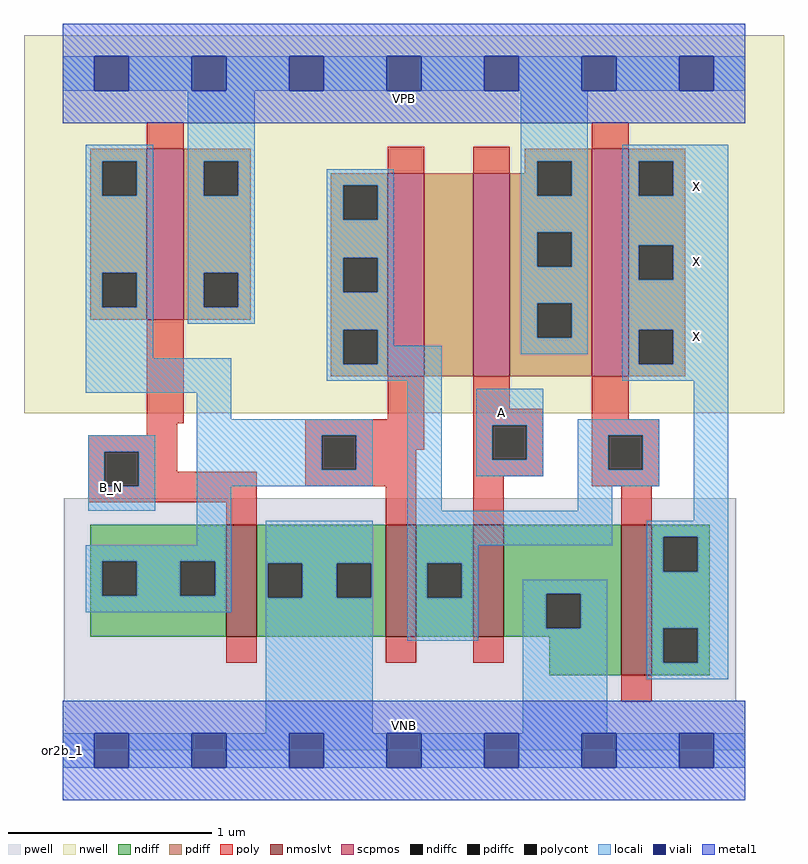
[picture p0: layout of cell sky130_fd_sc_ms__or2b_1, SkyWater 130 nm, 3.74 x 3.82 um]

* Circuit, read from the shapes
.subckt sky130_fd_sc_ms__or2b_1 A B_N VGND VNB VPB VPWR X
XM1 VGND B_N n1 VNB sky130_fd_pr__nfet_01v8_lvt w=0.55 l=0.15
XM2 n2 n1 VGND VNB sky130_fd_pr__nfet_01v8_lvt w=0.55 l=0.15
XM3 VGND A n2 VNB sky130_fd_pr__nfet_01v8_lvt w=0.55 l=0.15
XM4 X n2 VGND VNB sky130_fd_pr__nfet_01v8_lvt w=0.74 l=0.15
XM5 VPWR B_N n1 VPB sky130_fd_pr__pfet_01v8 w=0.84 l=0.18
XM6 n3 n1 n2 VPB sky130_fd_pr__pfet_01v8 w=1 l=0.18
XM7 VPWR A n3 VPB sky130_fd_pr__pfet_01v8 w=1 l=0.18
XM8 X n2 VPWR VPB sky130_fd_pr__pfet_01v8 w=1.12 l=0.18
.ends

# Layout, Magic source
magic
tech sky130A
magscale 1 2
<< nwell >>
rect -38 332 710 704
<< pwell >>
rect 1 49 663 248
rect 0 0 672 49
<< scpmos >>
rect 83 424 119 592
rect 320 368 356 568
rect 404 368 440 568
rect 521 368 557 592
<< nmoslvt >>
rect 161 112 191 222
rect 318 112 348 222
rect 404 112 434 222
rect 550 74 580 222
<< ndiff >>
rect 27 186 161 222
rect 27 152 39 186
rect 73 152 116 186
rect 150 152 161 186
rect 27 112 161 152
rect 191 184 318 222
rect 191 150 202 184
rect 236 150 270 184
rect 304 150 318 184
rect 191 112 318 150
rect 348 184 404 222
rect 348 150 359 184
rect 393 150 404 184
rect 348 112 404 150
rect 434 154 550 222
rect 434 120 476 154
rect 510 120 550 154
rect 434 112 550 120
rect 479 74 550 112
rect 580 210 637 222
rect 580 176 591 210
rect 625 176 637 210
rect 580 120 637 176
rect 580 86 591 120
rect 625 86 637 120
rect 580 74 637 86
<< pdiff >>
rect 27 580 83 592
rect 27 546 39 580
rect 73 546 83 580
rect 27 470 83 546
rect 27 436 39 470
rect 73 436 83 470
rect 27 424 83 436
rect 119 580 185 592
rect 119 546 139 580
rect 173 546 185 580
rect 455 580 521 592
rect 455 568 467 580
rect 119 470 185 546
rect 119 436 139 470
rect 173 436 185 470
rect 119 424 185 436
rect 264 556 320 568
rect 264 522 276 556
rect 310 522 320 556
rect 264 485 320 522
rect 264 451 276 485
rect 310 451 320 485
rect 264 414 320 451
rect 264 380 276 414
rect 310 380 320 414
rect 264 368 320 380
rect 356 368 404 568
rect 440 546 467 568
rect 501 546 521 580
rect 440 510 521 546
rect 440 476 467 510
rect 501 476 521 510
rect 440 440 521 476
rect 440 406 467 440
rect 501 406 521 440
rect 440 368 521 406
rect 557 580 613 592
rect 557 546 567 580
rect 601 546 613 580
rect 557 497 613 546
rect 557 463 567 497
rect 601 463 613 497
rect 557 414 613 463
rect 557 380 567 414
rect 601 380 613 414
rect 557 368 613 380
<< ndiffc >>
rect 39 152 73 186
rect 116 152 150 186
rect 202 150 236 184
rect 270 150 304 184
rect 359 150 393 184
rect 476 120 510 154
rect 591 176 625 210
rect 591 86 625 120
<< pdiffc >>
rect 39 546 73 580
rect 39 436 73 470
rect 139 546 173 580
rect 139 436 173 470
rect 276 522 310 556
rect 276 451 310 485
rect 276 380 310 414
rect 467 546 501 580
rect 467 476 501 510
rect 467 406 501 440
rect 567 546 601 580
rect 567 463 601 497
rect 567 380 601 414
<< poly >>
rect 83 592 119 618
rect 320 568 356 594
rect 404 568 440 594
rect 521 592 557 618
rect 83 322 119 424
rect 320 326 356 368
rect 83 310 113 322
rect 25 294 113 310
rect 25 260 41 294
rect 75 274 113 294
rect 239 310 356 326
rect 239 276 255 310
rect 289 296 356 310
rect 404 336 440 368
rect 404 320 473 336
rect 289 276 348 296
rect 75 260 191 274
rect 239 260 348 276
rect 25 244 191 260
rect 161 222 191 244
rect 318 222 348 260
rect 404 286 423 320
rect 457 286 473 320
rect 404 270 473 286
rect 521 326 557 368
rect 521 310 587 326
rect 521 276 537 310
rect 571 276 587 310
rect 404 222 434 270
rect 521 260 587 276
rect 550 222 580 260
rect 161 86 191 112
rect 318 86 348 112
rect 404 86 434 112
rect 550 48 580 74
<< polycont >>
rect 41 260 75 294
rect 255 276 289 310
rect 423 286 457 320
rect 537 276 571 310
<< locali >>
rect 0 649 31 683
rect 65 649 127 683
rect 161 649 223 683
rect 257 649 319 683
rect 353 649 415 683
rect 449 649 511 683
rect 545 649 607 683
rect 641 649 672 683
rect 23 580 89 596
rect 23 546 39 580
rect 73 546 89 580
rect 23 470 89 546
rect 23 436 39 470
rect 73 436 89 470
rect 23 386 89 436
rect 123 580 189 649
rect 123 546 139 580
rect 173 546 189 580
rect 451 580 517 649
rect 123 470 189 546
rect 123 436 139 470
rect 173 436 189 470
rect 123 420 189 436
rect 260 556 326 572
rect 260 522 276 556
rect 310 522 326 556
rect 260 485 326 522
rect 260 451 276 485
rect 310 451 326 485
rect 260 414 326 451
rect 23 352 166 386
rect 260 380 276 414
rect 310 398 326 414
rect 451 546 467 580
rect 501 546 517 580
rect 451 510 517 546
rect 451 476 467 510
rect 501 476 517 510
rect 451 440 517 476
rect 451 406 467 440
rect 501 406 517 440
rect 310 380 373 398
rect 451 390 517 406
rect 551 580 655 596
rect 551 546 567 580
rect 601 546 655 580
rect 551 497 655 546
rect 551 463 567 497
rect 601 463 655 497
rect 551 414 655 463
rect 260 364 373 380
rect 551 380 567 414
rect 601 380 655 414
rect 551 364 655 380
rect 132 326 166 352
rect 132 310 305 326
rect 25 294 91 310
rect 25 260 41 294
rect 75 260 91 294
rect 25 236 91 260
rect 132 276 255 310
rect 289 276 305 310
rect 132 260 305 276
rect 132 202 166 260
rect 339 236 373 364
rect 407 320 473 356
rect 407 286 423 320
rect 457 286 473 320
rect 407 270 473 286
rect 507 310 587 326
rect 507 276 537 310
rect 571 276 587 310
rect 507 260 587 276
rect 507 236 541 260
rect 23 186 166 202
rect 23 152 39 186
rect 73 152 116 186
rect 150 152 166 186
rect 23 136 166 152
rect 200 184 305 226
rect 200 150 202 184
rect 236 150 270 184
rect 304 150 305 184
rect 200 17 305 150
rect 339 202 541 236
rect 621 226 655 364
rect 575 210 655 226
rect 339 184 409 202
rect 339 150 359 184
rect 393 150 409 184
rect 575 176 591 210
rect 625 176 655 210
rect 339 108 409 150
rect 453 154 536 168
rect 453 120 476 154
rect 510 120 536 154
rect 453 17 536 120
rect 575 120 655 176
rect 575 86 591 120
rect 625 86 655 120
rect 575 70 655 86
rect 0 -17 31 17
rect 65 -17 127 17
rect 161 -17 223 17
rect 257 -17 319 17
rect 353 -17 415 17
rect 449 -17 511 17
rect 545 -17 607 17
rect 641 -17 672 17
<< viali >>
rect 31 649 65 683
rect 127 649 161 683
rect 223 649 257 683
rect 319 649 353 683
rect 415 649 449 683
rect 511 649 545 683
rect 607 649 641 683
rect 31 -17 65 17
rect 127 -17 161 17
rect 223 -17 257 17
rect 319 -17 353 17
rect 415 -17 449 17
rect 511 -17 545 17
rect 607 -17 641 17
<< metal1 >>
rect 0 683 672 715
rect 0 649 31 683
rect 65 649 127 683
rect 161 649 223 683
rect 257 649 319 683
rect 353 649 415 683
rect 449 649 511 683
rect 545 649 607 683
rect 641 649 672 683
rect 0 617 672 649
rect 0 17 672 49
rect 0 -17 31 17
rect 65 -17 127 17
rect 161 -17 223 17
rect 257 -17 319 17
rect 353 -17 415 17
rect 449 -17 511 17
rect 545 -17 607 17
rect 641 -17 672 17
rect 0 -49 672 -17
<< labels >>
flabel pwell s 0 0 672 49 0 FreeSans 200 0 0 0 VNB
port 4 nsew ground bidirectional
flabel nwell s 0 617 672 666 0 FreeSans 200 0 0 0 VPB
port 5 nsew power bidirectional
rlabel comment s 0 0 0 0 4 or2b_1
flabel metal1 s 0 617 672 666 0 FreeSans 340 0 0 0 VPWR
port 6 nsew power bidirectional
flabel metal1 s 0 0 672 49 0 FreeSans 340 0 0 0 VGND
port 3 nsew ground bidirectional
flabel locali s 607 390 641 424 0 FreeSans 340 0 0 0 X
port 7 nsew signal output
flabel locali s 607 464 641 498 0 FreeSans 340 0 0 0 X
port 7 nsew signal output
flabel locali s 607 538 641 572 0 FreeSans 340 0 0 0 X
port 7 nsew signal output
flabel locali s 31 242 65 276 0 FreeSans 340 0 0 0 B_N
port 2 nsew signal input
flabel locali s 415 316 449 350 0 FreeSans 340 0 0 0 A
port 1 nsew signal input
<< properties >>
string LEFsite unit
string LEFclass CORE
string FIXED_BBOX 0 0 672 666
string GDS_FILE $PDKPATH/libs.ref/sky130_fd_sc_ms/gds/sky130_fd_sc_ms.gds
string LEFsymmetry X Y
string GDS_END 1446174
string GDS_START 1440362
<< end >>
